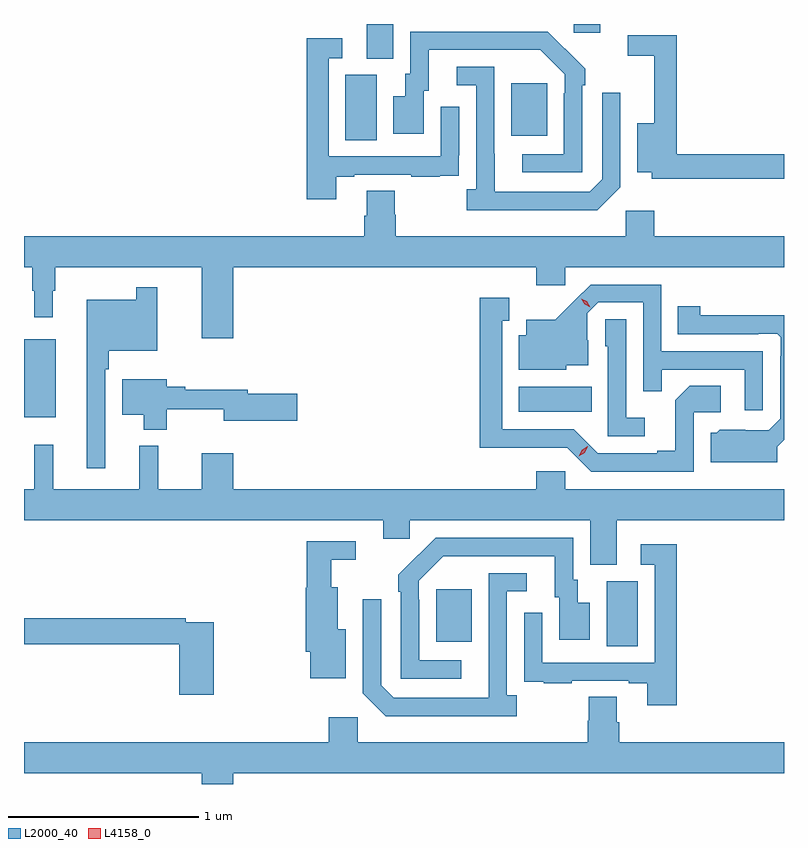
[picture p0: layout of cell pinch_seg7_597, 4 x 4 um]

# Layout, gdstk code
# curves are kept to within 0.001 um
import gdstk
lib = gdstk.Library(unit=1e-6, precision=1e-09)
def R(c, l, rs):  # rectangles x0, y0, x1, y1
    for r in rs: c.add(gdstk.rectangle(r[:2], r[2:], *l))
def P(c, l, *ps):  # polygons
    for p in ps: c.add(gdstk.Polygon(p, *l))
L2000_40 = (2000, 40)
L4158_0 = (4158, 0)

pinch_seg7_597 = lib.new_cell('pinch_seg7_597')
R(pinch_seg7_597, L2000_40, [(155.15,1037.248,155.314,1037.592), (154.253,1037.273,154.441,1037.548), (152.084,1038.455,152.251,1038.865), (154.688,1038.482,155.072,1038.616), (153.776,1039.912,153.94,1040.256), (154.649,1039.937,154.837,1040.212), (153.887,1040.341,154.027,1040.524), (154.977,1040.478,155.116,1040.524)])
P(pinch_seg7_597, L2000_40, [(155.022,1040.201),(155.037,1040.201),(155.037,1040.289),(154.84,1040.484),(154.116,1040.484),(154.116,1040.262),(154.091,1040.262),(154.091,1040.143),(154.028,1040.143),(154.028,1039.947),(154.189,1039.947),(154.189,1040.172),(154.213,1040.172),(154.213,1040.388),(154.801,1040.388),(154.929,1040.259),(154.929,1040.159),(154.926,1040.159),(154.926,1039.839),(154.707,1039.839),(154.707,1039.743),(155.022,1039.743)],
  [(156.084,1039.838),(155.519,1039.838),(155.519,1040.466),(155.262,1040.466),(155.262,1040.358),(155.402,1040.358),(155.402,1040.002),(155.312,1040.002),(155.312,1039.745),(155.388,1039.745),(155.388,1039.71),(156.084,1039.71)],
  [(153.727,1039.719),(153.823,1039.719),(153.823,1039.731),(154.123,1039.731),(154.123,1039.719),(154.271,1039.719),(154.271,1039.725),(154.373,1039.725),(154.373,1039.834),(154.374,1039.834),(154.374,1040.089),(154.278,1040.089),(154.278,1039.827),(153.687,1039.827),(153.687,1040.343),(153.76,1040.343),(153.76,1040.449),(153.571,1040.449),(153.571,1039.602),(153.727,1039.602)],
  [(155.223,1039.665),(155.223,1040.161),(155.127,1040.161),(155.127,1039.707),(155.061,1039.641),(154.561,1039.641),(154.56,1040.298),(154.362,1040.298),(154.362,1040.202),(154.464,1040.202),(154.464,1039.654),(154.413,1039.654),(154.413,1039.544),(155.102,1039.544)],
  [(153.184,1039.244),(154.781,1039.244),(154.781,1039.149),(154.932,1039.149),(154.932,1039.244),(156.084,1039.244),(156.084,1039.408),(155.402,1039.408),(155.402,1039.54),(155.25,1039.54),(155.25,1039.408),(154.04,1039.408),(154.04,1039.521),(154.035,1039.521),(154.035,1039.646),(153.887,1039.646),(153.887,1039.514),(153.875,1039.514),(153.875,1039.408),(152.084,1039.408),(152.084,1039.244),(152.127,1039.244),(152.127,1039.121),(152.137,1039.121),(152.137,1038.981),(152.236,1038.981),(152.236,1039.121),(152.248,1039.121),(152.248,1039.244),(153.02,1039.244),(153.02,1038.87),(153.184,1038.87)],
  [(155.973,1038.801),(155.439,1038.801),(155.439,1039.152),(155.066,1039.152),(154.879,1038.967),(154.727,1038.967),(154.727,1038.886),(154.688,1038.886),(154.688,1038.704),(154.938,1038.704),(154.938,1038.728),(155.053,1038.728),(155.053,1038.86),(155.049,1038.86),(155.049,1039.002),(155.106,1039.059),(155.343,1039.059),(155.343,1038.592),(155.441,1038.592),(155.441,1038.705),(155.877,1038.705),(155.877,1038.492),(155.973,1038.492)],
  [(152.511,1038.707),(152.531,1038.707),(152.531,1038.803),(152.784,1038.803),(152.784,1039.138),(152.676,1039.138),(152.676,1039.072),(152.414,1039.072),(152.414,1038.186),(152.511,1038.186)],
  [(155.61,1038.48),(155.752,1038.48),(155.752,1038.62),(155.587,1038.62),(155.511,1038.544),(155.511,1038.277),(155.417,1038.277),(155.417,1038.264),(155.103,1038.264),(154.977,1038.39),(154.6,1038.39),(154.6,1038.963),(154.639,1038.963),(154.639,1039.084),(154.482,1039.084),(154.482,1038.293),(154.944,1038.294),(155.07,1038.168),(155.61,1038.168)],
  [(156.049,1038.3),(156.084,1038.335),(156.084,1038.991),(155.643,1038.992),(155.643,1039.039),(155.524,1039.039),(155.524,1038.891),(155.948,1038.891),(155.948,1038.894),(156.048,1038.894),(156.066,1038.876),(156.066,1038.776),(156.063,1038.776),(156.063,1038.447),(156.003,1038.387),(155.746,1038.388),(155.73,1038.372),(155.699,1038.372),(155.699,1038.218),(156.049,1038.218)],
  [(155.35,1038.451),(155.253,1038.451),(155.253,1038.971),(155.142,1038.971),(155.142,1038.828),(155.157,1038.828),(155.157,1038.354),(155.35,1038.354)],
  [(152.836,1038.496),(153.134,1038.496),(153.134,1038.436),(153.523,1038.436),(153.523,1038.578),(153.262,1038.578),(153.262,1038.599),(152.932,1038.599),(152.932,1038.614),(152.836,1038.614),(152.836,1038.655),(152.6,1038.655),(152.6,1038.467),(152.714,1038.467),(152.714,1038.389),(152.836,1038.389)],
  [(155.203,1037.912),(156.084,1037.912),(156.084,1038.076),(154.932,1038.076),(154.932,1038.169),(154.781,1038.169),(154.781,1038.076),(153.184,1038.076),(153.184,1038.265),(153.02,1038.265),(153.02,1038.076),(152.79,1038.076),(152.79,1038.304),(152.69,1038.304),(152.69,1038.076),(152.237,1038.076),(152.237,1038.31),(152.138,1038.31),(152.138,1038.076),(152.084,1038.076),(152.084,1037.912),(153.974,1037.912),(153.974,1037.814),(154.113,1037.814),(154.113,1037.912),(155.063,1037.912),(155.063,1037.677),(155.203,1037.677)],
  [(154.384,1037.175),(154.164,1037.175),(154.164,1037.495),(154.161,1037.495),(154.161,1037.595),(154.29,1037.724),(154.877,1037.724),(154.877,1037.508),(154.901,1037.508),(154.901,1037.283),(155.062,1037.283),(155.062,1037.479),(154.999,1037.479),(154.999,1037.598),(154.974,1037.598),(154.974,1037.82),(154.25,1037.82),(154.053,1037.625),(154.053,1037.537),(154.068,1037.537),(154.068,1037.079),(154.384,1037.079)],
  [(153.778,1037.338),(153.736,1037.338),(153.736,1037.56),(153.7,1037.56),(153.7,1037.705),(153.829,1037.705),(153.829,1037.802),(153.571,1037.802),(153.571,1037.556),(153.566,1037.556),(153.566,1037.22),(153.59,1037.22),(153.59,1037.081),(153.778,1037.081)],
  [(155.519,1037.785),(155.331,1037.785),(155.331,1037.679),(155.403,1037.679),(155.403,1037.163),(154.812,1037.163),(154.812,1037.425),(154.716,1037.425),(154.716,1037.17),(154.717,1037.17),(154.717,1037.061),(154.819,1037.061),(154.819,1037.055),(154.967,1037.055),(154.967,1037.067),(155.267,1037.067),(155.267,1037.055),(155.363,1037.055),(155.363,1036.938),(155.519,1036.938)],
  [(154.678,1036.99),(154.626,1036.99),(154.626,1037.538),(154.729,1037.538),(154.729,1037.634),(154.53,1037.634),(154.529,1036.977),(154.029,1036.977),(153.963,1037.043),(153.963,1037.497),(153.867,1037.497),(153.867,1037.001),(153.988,1036.88),(154.678,1036.88)],
  [(153.083,1037.376),(152.936,1037.376),(152.936,1037.396),(152.084,1037.396),(152.084,1037.26),(152.9,1037.26),(152.9,1036.995),(153.083,1036.995)],
  [(153.184,1036.58),(156.084,1036.58),(156.084,1036.744),(155.216,1036.744),(155.216,1036.85),(155.203,1036.85),(155.203,1036.982),(155.056,1036.982),(155.056,1036.857),(155.051,1036.857),(155.051,1036.744),(153.84,1036.744),(153.84,1036.876),(153.689,1036.876),(153.689,1036.744),(152.084,1036.744),(152.084,1036.58),(153.02,1036.58),(153.02,1036.524),(153.184,1036.524)])
P(pinch_seg7_597, L4158_0, [(155.064,1039.034),(155.034,1039.049),(155.016,1039.079),(155.016,1039.079),(155.016,1039.079),(155.047,1039.064),(155.065,1039.034),(155.065,1039.034)],
  [(155.003,1038.249),(155.003,1038.249),(155.021,1038.282),(155.052,1038.301),(155.052,1038.301),(155.052,1038.301),(155.035,1038.268),(155.004,1038.249)])

lib.write_gds('pinch_seg7_597.gds')
